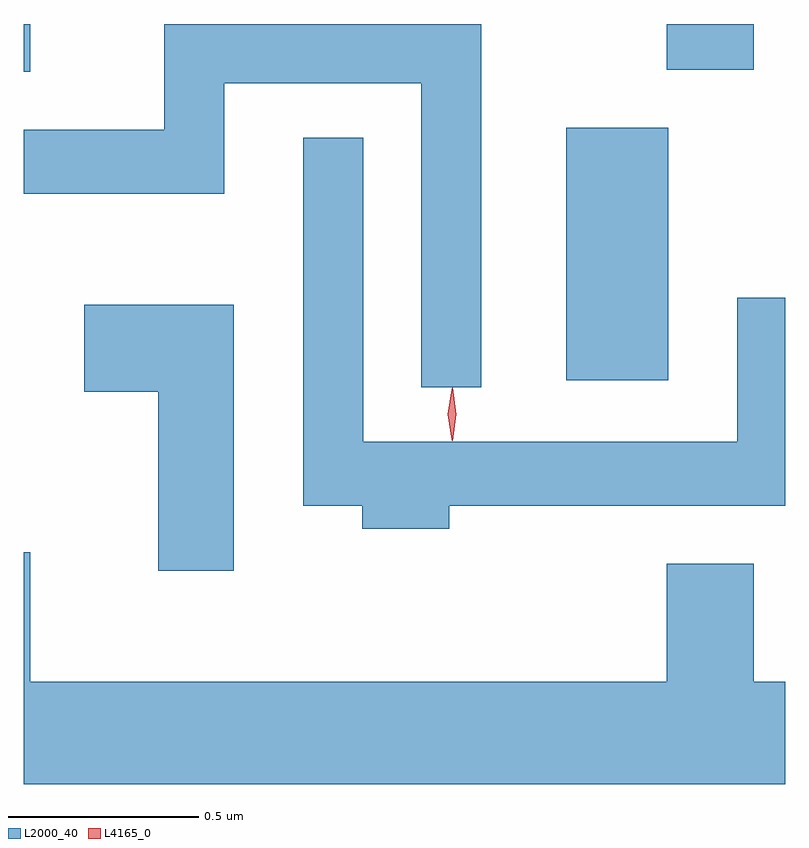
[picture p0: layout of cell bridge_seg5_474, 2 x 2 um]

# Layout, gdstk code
import gdstk
lib = gdstk.Library(unit=1e-6, precision=1e-09)
def R(c, l, rs):  # rectangles x0, y0, x1, y1
    for r in rs: c.add(gdstk.rectangle(r[:2], r[2:], *l))
def P(c, l, *ps):  # polygons
    for p in ps: c.add(gdstk.Polygon(p, *l))
L2000_40 = (2000, 40)
L4165_0 = (4165, 0)

bridge_seg5_474 = lib.new_cell('bridge_seg5_474')
R(bridge_seg5_474, L2000_40, [(388.786,1491.156,389.054,1491.819), (387.362,1491.966,387.379,1492.091), (389.051,1491.971,389.279,1492.091)])
P(bridge_seg5_474, L2000_40, [(388.564,1492.091),(387.731,1492.091),(387.731,1491.814),(387.362,1491.814),(387.362,1491.646),(387.889,1491.646),(387.889,1491.936),(388.406,1491.936),(388.406,1491.138),(388.564,1491.138)],
  [(388.479,1490.826),(389.362,1490.826),(389.362,1491.373),(389.236,1491.373),(389.236,1490.994),(388.254,1490.994),(388.254,1491.793),(388.096,1491.793),(388.096,1490.826),(388.251,1490.826),(388.251,1490.766),(388.479,1490.766)],
  [(387.914,1491.354),(387.521,1491.354),(387.521,1491.126),(387.716,1491.126),(387.716,1490.656),(387.914,1490.656)],
  [(389.362,1490.364),(389.279,1490.364),(389.279,1490.674),(389.051,1490.674),(389.051,1490.364),(387.379,1490.364),(387.379,1490.704),(387.362,1490.704),(387.362,1490.096),(389.362,1490.096)])
P(bridge_seg5_474, L4165_0, [(388.487,1490.997),(388.478,1491.067),(388.487,1491.136),(388.488,1491.136),(388.488,1491.136),(388.498,1491.067),(388.488,1490.997),(388.488,1490.997)],
  [(388.486,1490.999),(388.486,1491),(388.476,1491.066),(388.486,1491.132),(388.486,1491.133),(388.487,1491.132),(388.496,1491.066),(388.487,1491)])

lib.write_gds('bridge_seg5_474.gds')
